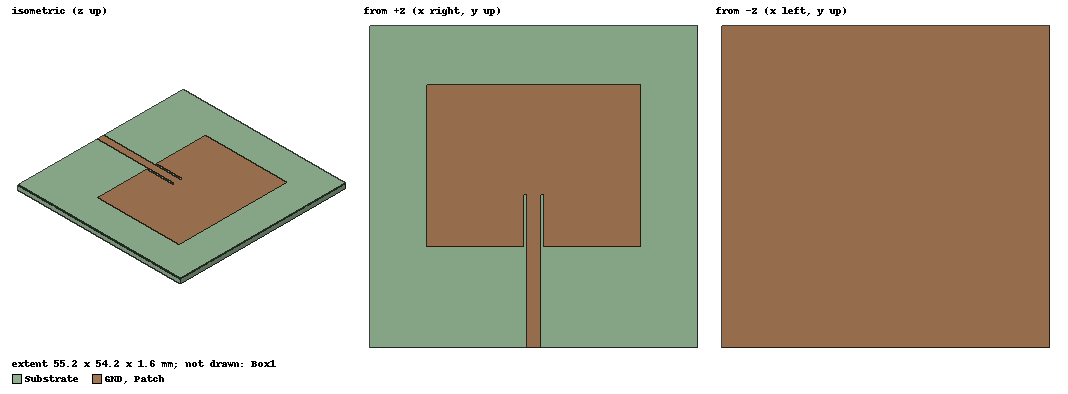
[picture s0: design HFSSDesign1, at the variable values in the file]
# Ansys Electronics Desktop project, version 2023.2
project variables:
  $f = 2.45GHz
  $epsilon_r = 4.8
  $h = 1.6mm
  $Wp = 36mm
  $Lp = 27.2mm
  $Wg = $Wp + 12*$h
  $Lg = $Lp + $Lf + $z
  $Wf = 2.2mm
  $g = 0.5mm
  $d = 8.8mm
  $Lf = 17mm
  $z = 10mm
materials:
  vacuum: permittivity=1
  Rogers RO3003 (tm): permittivity=3 dielectric_loss_tangent=0.0013
  Rogers RT/duroid 5880 (tm): permittivity=2.2 dielectric_loss_tangent=0.0009
  air: permittivity=1.0006 permeability=1.0000004
  FR4_epoxy: permittivity=4.4 dielectric_loss_tangent=0.02
  FR4_epoxy - 4.8: permittivity=4.8 dielectric_loss_tangent=0.02

design HFSSDesign1 (HFSS, HFSS Terminal Network, model units mm)
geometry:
  GND = rectangle(corner=(-$Wg/2, -$Lg/2, 0mm), x_size=$Wg, y_size=$Lg)
  Substrate [FR4_epoxy - 4.8] = box(corner=(-$Wg/2, -$Lg/2, 0mm), size=($Wg, $Lg, $h))
  Patch = rectangle(corner=(-$Wp/2, -$Lg/2 +$Lf, $h), x_size=$Wp, y_size=$Lp)
  Left_notch = rectangle(corner=(-$g-$Wf/2, -$Lg/2 + $Lf, $h), x_size=$g, y_size=$d)
  Right_notch = rectangle(corner=($Wf/2, -$Lg/2+$Lf, $h), x_size=$g, y_size=$d)
  Feed = rectangle(corner=(-$Wf/2, -$Lg/2, $h), x_size=$Wf, y_size=$d + $Lf)
  Patch.subtract(Left_notch)
  Patch.subtract(Right_notch)
  Port = rectangle(corner=(-$Wf/2, -$Lg/2, 0mm), z_size=$h, x_size=$Wf)
  Patch.unite(Feed)
  Box1 [air] = box(corner=(-150mm, -150mm, -150mm), size=(300mm, 300mm, 300mm))
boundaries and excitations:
  PerfE1: Perfect E Objects=Patch
  PerfE2: Perfect E Objects=GND
  Rad1: Radiation Objects=Box1
  1: Lumped Port Objects=Port LumpedPortType=Modal Modes{Mode1{IntLine{(0, -27.1, 0) -> (0, -27.1, 1.6)} CharImp=Zpi RenormImp=50ohm}} Impedance=50ohm
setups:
  Setup1: HfssDriven Frequency=2.45GHz MaxDeltaS=0.02 MaximumPasses=20 MinimumPasses=1 MinimumConvergedPasses=1 PercentRefinement=30 BasisOrder=1 PortAccuracy=2 DrivenSolverType="Direct Solver"
    sweep Sweep: 1.5GHz to 3GHz step 0.01GHz; Type=Fast SaveFields
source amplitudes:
  1:1: 1V 0deg
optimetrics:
  ParametricSetup3: Parametric disabled Sim._Setups=[Setup1]
    sweep $Lf: LIN 10mm 20mm 1mm
    sweep $g: LIN 0.2mm 1mm 0.1mm
    sweep $Lp: LIN 27.1mm 27.2mm 0.1mm
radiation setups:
  Infinite Sphere1: Infinite Sphere Theta=0deg..180deg step 2deg Phi=-180deg..180deg step 2deg
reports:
  Terminal S Parameter Plot 1: dB(St(1,1)) vs Freq on Setup1 : Sweep
  Terminal S Parameter Plot 2: dB(St(1,1)) vs Freq on Setup1 : Sweep
  Terminal S Parameter Plot 3: dB(St(1,1)) vs Freq on Setup1 : Sweep
